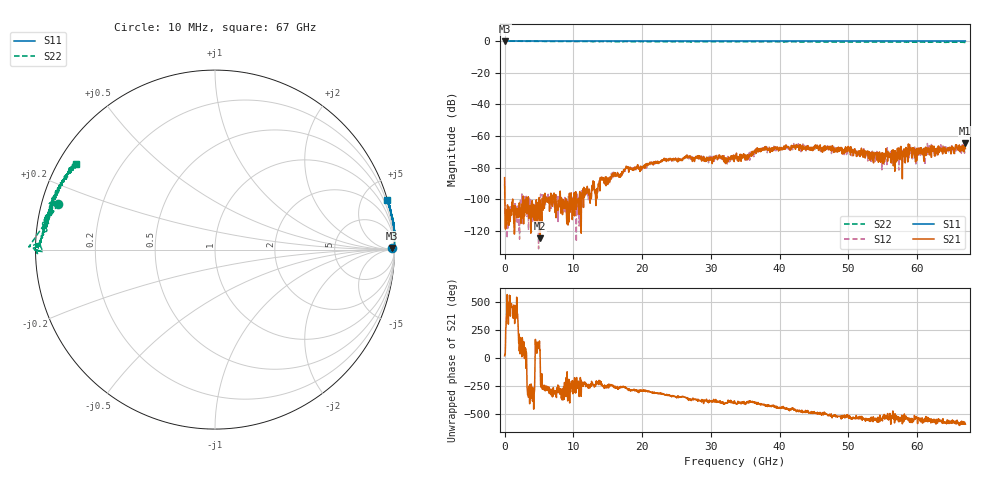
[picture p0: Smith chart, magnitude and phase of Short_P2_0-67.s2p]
!Keysight Technologies,N5247B,MY61256062,A.16.20.04
!Date: Thursday, February 19, 2026 10:04:37
!Correction: S11(C  2-Port  )
!S21(C  2-Port  )
!S12(C  2-Port  )
!S22(C  2-Port  )
!S2P File: Measurements: S11, S21, S12, S22:
# Hz S  dB  R 50
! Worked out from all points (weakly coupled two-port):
!   1601 points, 10 MHz to 67 GHz, reference 50 ohm
!   highest |S21| = -64.43 dB at 66.87 GHz (marker M1); lowest = -124.8 dB at 5.16 GHz (marker M2)
!   lowest |S11| = -0.1 dB at 10 MHz (marker M3), VSWR 163.33, Z = 5.39e+03 + j3.87e+03 ohm
!   |S11| at or under -10 dB: nowhere
!   |S22| runs from -1.0 to 0.3 dB; largest |S21 - S12| = 0.00037
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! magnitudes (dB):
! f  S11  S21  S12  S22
! 10 MHz  -0.1  -86.4  -90.2  -0.8
! 5.16 GHz  0.0  -124.8  -109.6  -0.2
! 11.19 GHz  0.0  -96.0  -94.6  -0.4
! 19.86 GHz  0.0  -80.4  -81.4  -0.4
! 22.37 GHz  0.0  -76.6  -76.8  -0.5
! 26.64 GHz  0.0  -73.3  -72.7  -0.5
! 31.12 GHz  0.0  -72.3  -73.2  -0.5
! 32.42 GHz  0.0  -76.6  -74.5  -0.5
! 33.51 GHz  0.0  -73.4  -73.6  -0.5
! 35.31 GHz  0.0  -72.0  -74.2  -0.5
! 37.73 GHz  0.0  -68.0  -69.0  -0.5
! 44.68 GHz  0.0  -67.2  -67.6  -0.5
! 52.01 GHz  0.0  -69.7  -70.1  -0.7
! 55.03 GHz  0.0  -72.2  -73.6  -0.7
! 55.86 GHz  0.0  -70.9  -72.0  -0.7
! 56.74 GHz  0.0  -82.3  -70.8  -0.7
! 57.45 GHz  0.0  -74.9  -69.1  -0.7
! 58.04 GHz  0.0  -73.2  -70.2  -0.7
! 59.04 GHz  0.0  -68.3  -67.0  -0.7
! 59.92 GHz  0.0  -75.5  -68.8  -0.8
! 66.87 GHz  0.0  -64.4  -70.9  -1.0
! 67 GHz  0.0  -68.0  -65.4  -0.8
